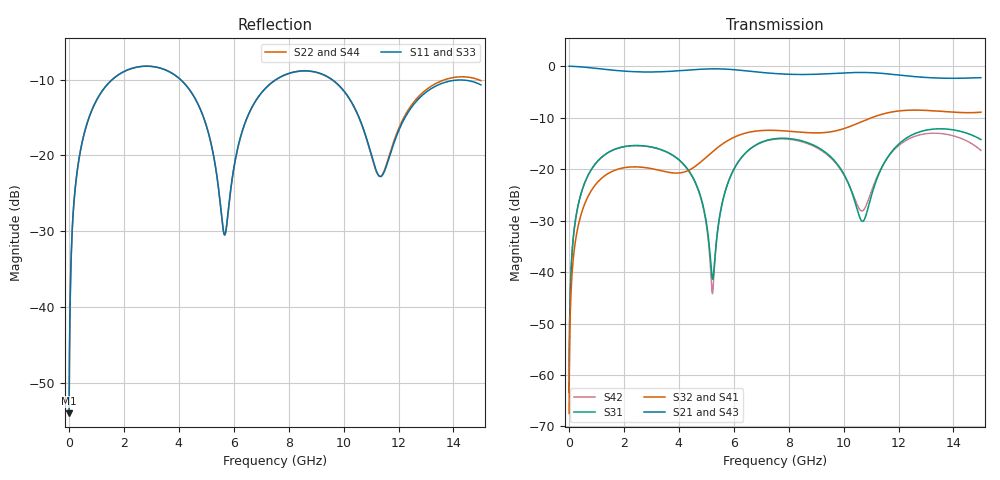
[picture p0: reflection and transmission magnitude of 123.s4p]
! Created with skrf 1.8.0 (http://scikit-rf.org).
# GHz S RI R 50.0
!freq ReS11 ImS11 ReS12 ImS12 ReS13 ImS13
! ReS14 ImS14
! ReS21 ImS21 ReS22 ImS22 ReS23 ImS23
! ReS24 ImS24
! ReS31 ImS31 ReS32 ImS32 ReS33 ImS33
! ReS34 ImS34
! ReS41 ImS41 ReS42 ImS42 ReS43 ImS43
! ReS44 ImS44
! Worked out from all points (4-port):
!   2499 points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, 5 MHz to 15 GHz, reference 50 ohm
!   strongest paths, dB at 5 MHz, 3.476 GHz, 7.19 GHz, 11.1 GHz, 15 GHz:
!     S21: 0.0, -1.1, -1.3, -1.3, -2.2
!     S43: 0.0, -1.1, -1.3, -1.3, -2.3
!     S32: -67.4, -20.5, -12.5, -9.9, -9.0
!     S41: -67.4, -20.6, -12.6, -9.9, -9.1
!     S31: -63.3, -16.5, -14.4, -23.7, -14.3
!     S42: -63.3, -16.5, -14.5, -23.1, -16.4
!   lowest |S11| = -54.1 dB at 5 MHz (marker M1), VSWR 1.00, Z = 50.2 + j0.12 ohm
!   |S11| at or under -10 dB: start of sweep to 1.574 GHz; 4.063 GHz to 7.535 GHz (3.471 GHz wide, 59.9 % of centre); 9.585 GHz to end of sweep
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0.005  0.00158 0.00119  0.9984 -0.00308  8.1e-05 0.000679  -7.84e-05 -0.000417
       0.9984 -0.00308  0.00158 0.00119  -7.84e-05 -0.000417  8.1e-05 0.000679
       8.1e-05 0.000679  -7.84e-05 -0.000417  0.00158 0.00119  0.9984 -0.00308
       -7.84e-05 -0.000417  8.1e-05 0.000679  0.9984 -0.00308  0.00158 0.00119
0.3126303  0.0227 0.0788  0.969 -0.1918  0.0111 0.0404  -0.00913 -0.0246
           0.969 -0.1918  0.0227 0.0788  -0.00915 -0.0246  0.011 0.0404
           0.0111 0.0404  -0.00915 -0.0246  0.0227 0.0788  0.969 -0.1918
           -0.00913 -0.0246  0.011 0.0404  0.969 -0.1918  0.0227 0.0788
1.519383  0.2509 0.1815  0.5867 -0.7055  0.131 0.0718  -0.0923 -0.0126
          0.5867 -0.7055  0.2511 0.1814  -0.0926 -0.0123  0.13 0.0731
          0.131 0.0718  -0.0926 -0.0123  0.2507 0.1816  0.5867 -0.7055
          -0.0923 -0.0126  0.13 0.0731  0.5867 -0.7055  0.2513 0.1813
5.220925  0.0523 -0.0959  -0.8866 -0.3135  -0.00829 -0.00252  -0.0473 0.1389
          -0.8866 -0.3135  0.0522 -0.0964  -0.0419 0.1407  -0.00605 -0.00118
          -0.00829 -0.00252  -0.0419 0.1407  0.0537 -0.0955  -0.8866 -0.3134
          -0.0473 0.1389  -0.00605 -0.00118  -0.8866 -0.3134  0.0508 -0.097
8.90371  0.3535 -0.0524  0.0354 0.8312  0.1424 -0.0944  0.21 -0.0673
         0.0354 0.8312  0.3524 -0.0522  0.2094 -0.0813  0.1414 -0.0889
         0.1424 -0.0944  0.2094 -0.0813  0.3516 -0.0486  0.0357 0.8311
         0.21 -0.0673  0.1414 -0.0889  0.0357 0.8311  0.3547 -0.0561
11.55481  0.0799 0.0272  0.8416 0.048  0.0301 0.1203  0.0173 -0.349
          0.8416 0.048  0.0807 0.031  -0.00747 -0.3491  0.0117 0.1229
          0.0301 0.1203  -0.00747 -0.3491  0.0842 0.0241  0.8416 0.0475
          0.0173 -0.349  0.0117 0.1229  0.8416 0.0475  0.0759 0.0343
15  0.2792 -0.0854  -0.1036 -0.7653  0.1058 -0.1621  -0.3397 0.0853
    -0.1036 -0.7653  0.2977 -0.0919  -0.3343 0.1236  0.1092 -0.1054
    0.1058 -0.1621  -0.3343 0.1236  0.2775 -0.0723  -0.104 -0.7646
    -0.3397 0.0853  0.1092 -0.1054  -0.104 -0.7646  0.303 -0.1033
